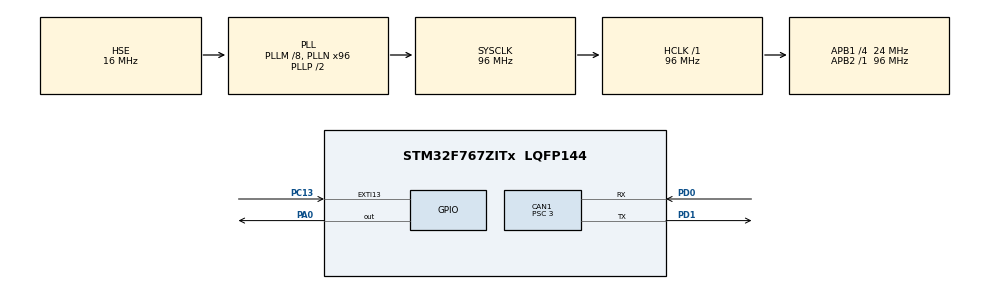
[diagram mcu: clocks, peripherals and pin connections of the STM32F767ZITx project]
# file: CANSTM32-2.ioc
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CAN1.BS1=CAN_BS1_13TQ
CAN1.BS2=CAN_BS2_2TQ
CAN1.CalculateBaudRate=500000
CAN1.CalculateTimeBit=2000
CAN1.CalculateTimeQuantum=125.0
CAN1.Prescaler=3
Mcu.Family=STM32F7
Mcu.Name=STM32F767ZITx
Mcu.Package=LQFP144
NVIC.CAN1_RX0_IRQn=true\:0\:0\:false\:false\:true\:true\:true\:true
NVIC.EXTI15_10_IRQn=true\:0\:0\:false\:false\:true\:true\:true\:true
NVIC.PriorityGroup=NVIC_PRIORITYGROUP_4
NVIC.RCC_IRQn=true\:0\:0\:false\:false\:true\:true\:false\:true
PA0/WKUP.Signal=GPIO_Output
PC13.GPIO_PuPd=GPIO_NOPULL
PC13.Signal=GPXTI13
PD0.GPIO_PuPd=GPIO_PULLUP
PD0.Mode=CAN_Activate
PD0.Signal=CAN1_RX
PD1.Mode=CAN_Activate
PD1.Signal=CAN1_TX
PH0/OSC_IN.Mode=HSE-External-Oscillator
PH0/OSC_IN.Signal=RCC_OSC_IN
PH1/OSC_OUT.Mode=HSE-External-Oscillator
PH1/OSC_OUT.Signal=RCC_OSC_OUT
ProjectManager.HeapSize=0x200
ProjectManager.StackSize=0x400
ProjectManager.TargetToolchain=STM32CubeIDE
RCC.48MHZClocksFreq_Value=24000000
RCC.AHBFreq_Value=96000000
RCC.APB1CLKDivider=RCC_HCLK_DIV4
RCC.APB1Freq_Value=24000000
RCC.APB1TimFreq_Value=48000000
RCC.APB2Freq_Value=96000000
RCC.APB2TimFreq_Value=96000000
RCC.CortexFreq_Value=96000000
RCC.HCLKFreq_Value=96000000
RCC.HSE_VALUE=16000000
RCC.HSI_VALUE=16000000
RCC.LSE_VALUE=32768
RCC.PLLM=8
RCC.PLLMUL=RCC_PLL_MUL9
RCC.PLLN=96
RCC.PLLSourceVirtual=RCC_PLLSOURCE_HSE
RCC.PRESCALERUSB=RCC_USBCLKSOURCE_PLL_DIV1_5
RCC.SYSCLKFreq_VALUE=96000000
RCC.SYSCLKSource=RCC_SYSCLKSOURCE_PLLCLK
RCC.SYSCLKSourceVirtual=RCC_SYSCLKSOURCE_PLLCLK
RCC.USBFreq_Value=96000000
RCC.VCOOutputFreq_Value=192000000
board=NUCLEO-F767ZI

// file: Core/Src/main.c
/* USER CODE BEGIN Header */
/**
  ******************************************************************************
  * @file           : main.c
  * @brief          : Main program body
  ******************************************************************************
  * @attention
  *
  * Copyright (c) 2024 STMicroelectronics.
  * All rights reserved.
  *
  * This software is licensed under terms that can be found in the LICENSE file
  * in the root directory of this software component.
  * If no LICENSE file comes with this software, it is provided AS-IS.
  *
  ******************************************************************************
  */
/* USER CODE END Header */
#include "main.h"

CAN_HandleTypeDef hcan1;

/* USER CODE BEGIN PV */
CAN_TxHeaderTypeDef htx1;
CAN_RxHeaderTypeDef hrx1;
uint32_t txMailbox;

uint8_t MSG_LED;
uint8_t BUTTON_PRESSED;

/* USER CODE END PV */

void SystemClock_Config(void);
static void MX_GPIO_Init(void);
static void MX_CAN1_Init(void);
/* USER CODE BEGIN PFP */
void HAL_GPIO_EXTI_Callback(uint16_t GPIO_Pin);
void HAL_CAN_RxFifo0MsgPendingCallback(CAN_HandleTypeDef* hcan1);
/* USER CODE END PFP */

/* USER CODE BEGIN 0 */

// Interrupt triggered once user button on NUCLEO (PC13) is pressed
void HAL_GPIO_EXTI_Callback(uint16_t GPIO_Pin){
	if(GPIO_Pin == GPIO_PIN_13){
		BUTTON_PRESSED = 1;
		if(HAL_CAN_AddTxMessage(&hcan1, &htx1, &BUTTON_PRESSED, &txMailbox) != HAL_OK){
			Error_Handler();
		}
		while(HAL_CAN_GetTxMailboxesFreeLevel(&hcan1) != 3){}		// wait for transmission to complete
		BUTTON_PRESSED = 0;
	}
}

// Interrupt triggered once message is received from other NUCLEO
void HAL_CAN_RxFifo0MsgPendingCallback(CAN_HandleTypeDef* hcan1){
	if(HAL_CAN_GetRxMessage(hcan1, CAN_RX_FIFO0, &hrx1, &MSG_LED) != HAL_OK){
		Error_Handler();
	}
	else{
		HAL_GPIO_WritePin(GPIOA, GPIO_PIN_0, MSG_LED);
	}
}

/* USER CODE END 0 */

int main(void)
{

  /* MCU Configuration--------------------------------------------------------*/

  /* Reset of all peripherals, Initializes the Flash interface and the Systick. */
  HAL_Init();

  /* Configure the system clock */
  SystemClock_Config();

  /* Initialize all configured peripherals */
  MX_GPIO_Init();
  MX_CAN1_Init();

  /* Infinite loop */
  while (1)
  {

  }
}

void SystemClock_Config(void)
{
  RCC_OscInitTypeDef RCC_OscInitStruct = {0};
  RCC_ClkInitTypeDef RCC_ClkInitStruct = {0};

  /** Configure the main internal regulator output voltage
  */
  __HAL_RCC_PWR_CLK_ENABLE();
  __HAL_PWR_VOLTAGESCALING_CONFIG(PWR_REGULATOR_VOLTAGE_SCALE3);

  /** Initializes the RCC Oscillators according to the specified parameters
  * in the RCC_OscInitTypeDef structure.
  */
  RCC_OscInitStruct.OscillatorType = RCC_OSCILLATORTYPE_HSE;
  RCC_OscInitStruct.HSEState = RCC_HSE_ON;
  RCC_OscInitStruct.PLL.PLLState = RCC_PLL_ON;
  RCC_OscInitStruct.PLL.PLLSource = RCC_PLLSOURCE_HSE;
  RCC_OscInitStruct.PLL.PLLM = 8;
  RCC_OscInitStruct.PLL.PLLN = 96;
  RCC_OscInitStruct.PLL.PLLP = RCC_PLLP_DIV2;
  RCC_OscInitStruct.PLL.PLLQ = 2;
  RCC_OscInitStruct.PLL.PLLR = 2;
  if (HAL_RCC_OscConfig(&RCC_OscInitStruct) != HAL_OK)
  {
    Error_Handler();
  }

  /** Activate the Over-Drive mode
  */
  if (HAL_PWREx_EnableOverDrive() != HAL_OK)
  {
    Error_Handler();
  }

  /** Initializes the CPU, AHB and APB buses clocks
  */
  RCC_ClkInitStruct.ClockType = RCC_CLOCKTYPE_HCLK|RCC_CLOCKTYPE_SYSCLK
                              |RCC_CLOCKTYPE_PCLK1|RCC_CLOCKTYPE_PCLK2;
  RCC_ClkInitStruct.SYSCLKSource = RCC_SYSCLKSOURCE_PLLCLK;
  RCC_ClkInitStruct.AHBCLKDivider = RCC_SYSCLK_DIV1;
  RCC_ClkInitStruct.APB1CLKDivider = RCC_HCLK_DIV4;
  RCC_ClkInitStruct.APB2CLKDivider = RCC_HCLK_DIV1;

  if (HAL_RCC_ClockConfig(&RCC_ClkInitStruct, FLASH_LATENCY_3) != HAL_OK)
  {
    Error_Handler();
  }
}

static void MX_CAN1_Init(void)
{

  hcan1.Instance = CAN1;
  hcan1.Init.Prescaler = 3;
  hcan1.Init.Mode = CAN_MODE_NORMAL;
  hcan1.Init.SyncJumpWidth = CAN_SJW_1TQ;
  hcan1.Init.TimeSeg1 = CAN_BS1_13TQ;
  hcan1.Init.TimeSeg2 = CAN_BS2_2TQ;
  hcan1.Init.TimeTriggeredMode = DISABLE;
  hcan1.Init.AutoBusOff = DISABLE;
  hcan1.Init.AutoWakeUp = DISABLE;
  hcan1.Init.AutoRetransmission = DISABLE;
  hcan1.Init.ReceiveFifoLocked = DISABLE;
  hcan1.Init.TransmitFifoPriority = DISABLE;
  if (HAL_CAN_Init(&hcan1) != HAL_OK)
  {
    Error_Handler();
  }
  /* USER CODE BEGIN CAN1_Init 2 */
  if(HAL_CAN_Start(&hcan1) != HAL_OK){
	  Error_Handler();
  }

  CAN_FilterTypeDef cfil;
  cfil.FilterActivation = ENABLE;
  cfil.FilterMode = CAN_FILTERMODE_IDMASK;
  cfil.FilterFIFOAssignment = CAN_FILTER_FIFO0;
  cfil.FilterBank = 0;						// specified to be between 0 and 13
  cfil.FilterScale = CAN_FILTERSCALE_32BIT; // 32-bit filter
  cfil.FilterMaskIdHigh = 0x7FF << 5; 		// Filter out all other Id's except for communication from the other NUCLEO
  cfil.FilterIdHigh = 0x020 << 5;			// ID of other NUCLEO
  cfil.FilterIdLow = 0;						// lower 16 bits remain unused
  cfil.FilterMaskIdLow = 0;

  // Configure the digital filter
  if(HAL_CAN_ConfigFilter(&hcan1, &cfil) != HAL_OK)
  {
	  Error_Handler();
  }

  // Enable interrupts triggered upon receiving message
  if(HAL_CAN_ActivateNotification(&hcan1, CAN_IT_RX_FIFO0_MSG_PENDING) != HAL_OK){
	  Error_Handler();
  }

  htx1.StdId = 0x010;
  htx1.DLC = 1;							// 1 byte of data
  htx1.IDE = CAN_ID_STD;				// standard ID
  htx1.RTR = CAN_RTR_DATA;				// data frame
  htx1.TransmitGlobalTime = DISABLE;

  /* USER CODE END CAN1_Init 2 */

}

static void MX_GPIO_Init(void)
{
  GPIO_InitTypeDef GPIO_InitStruct = {0};

  /* GPIO Ports Clock Enable */
  __HAL_RCC_GPIOC_CLK_ENABLE();
  __HAL_RCC_GPIOH_CLK_ENABLE();
  __HAL_RCC_GPIOA_CLK_ENABLE();
  __HAL_RCC_GPIOD_CLK_ENABLE();

  /*Configure GPIO pin Output Level */
  HAL_GPIO_WritePin(GPIOA, GPIO_PIN_0, GPIO_PIN_RESET);

  /*Configure GPIO pin : PC13 */
  GPIO_InitStruct.Pin = GPIO_PIN_13;
  GPIO_InitStruct.Mode = GPIO_MODE_IT_RISING;
  GPIO_InitStruct.Pull = GPIO_NOPULL;
  HAL_GPIO_Init(GPIOC, &GPIO_InitStruct);

  /*Configure GPIO pin : PA0 */
  GPIO_InitStruct.Pin = GPIO_PIN_0;
  GPIO_InitStruct.Mode = GPIO_MODE_OUTPUT_PP;
  GPIO_InitStruct.Pull = GPIO_NOPULL;
  GPIO_InitStruct.Speed = GPIO_SPEED_FREQ_LOW;
  HAL_GPIO_Init(GPIOA, &GPIO_InitStruct);

  /* EXTI interrupt init*/
  HAL_NVIC_SetPriority(EXTI15_10_IRQn, 0, 0);
  HAL_NVIC_EnableIRQ(EXTI15_10_IRQn);

}

void Error_Handler(void)
{
  __disable_irq();
  while (1)
  {
  }
}
